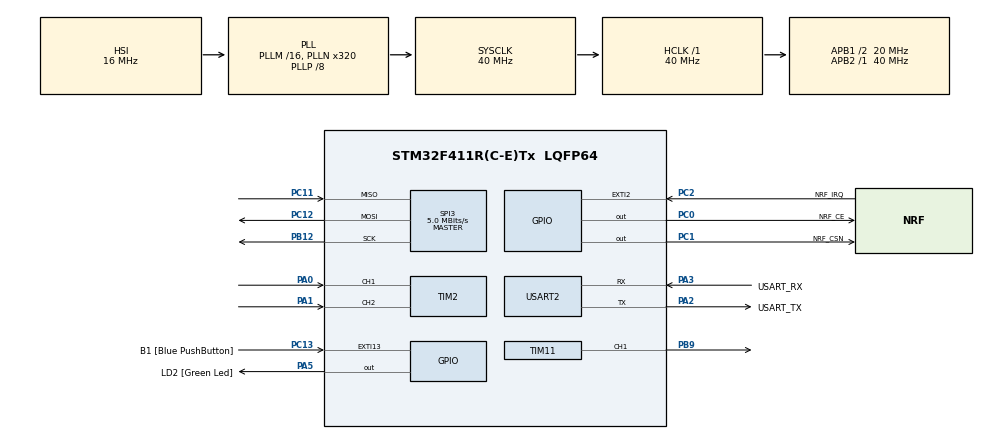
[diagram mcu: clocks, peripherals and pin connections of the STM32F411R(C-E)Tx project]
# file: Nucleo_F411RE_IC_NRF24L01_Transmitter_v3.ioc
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Mcu.Family=STM32F4
Mcu.Name=STM32F411R(C-E)Tx
Mcu.Package=LQFP64
NVIC.EXTI2_IRQn=true\:0\:0\:false\:false\:true\:true\:true
NVIC.PriorityGroup=NVIC_PRIORITYGROUP_0
NVIC.TIM2_IRQn=true\:0\:0\:false\:false\:true\:true\:true
PA0-WKUP.Signal=S_TIM2_CH1_ETR
PA1.Signal=S_TIM2_CH2
PA13.GPIO_Label=TMS
PA13.Mode=Serial_Wire
PA13.Signal=SYS_JTMS-SWDIO
PA14.GPIO_Label=TCK
PA14.Mode=Serial_Wire
PA14.Signal=SYS_JTCK-SWCLK
PA2.GPIO_Label=USART_TX
PA2.Mode=Asynchronous
PA2.Signal=USART2_TX
PA3.GPIO_Label=USART_RX
PA3.Mode=Asynchronous
PA3.Signal=USART2_RX
PA5.GPIO_Label=LD2 [Green Led]
PA5.Signal=GPIO_Output
PB12.Mode=Full_Duplex_Master
PB12.Signal=SPI3_SCK
PB3.GPIO_Label=SWO
PB3.Signal=SYS_JTDO-SWO
PB9.Signal=S_TIM11_CH1
PC0.GPIO_Label=NRF_CE
PC0.Signal=GPIO_Output
PC1.GPIO_Label=NRF_CSN
PC1.Signal=GPIO_Output
PC11.Mode=Full_Duplex_Master
PC11.Signal=SPI3_MISO
PC12.Mode=Full_Duplex_Master
PC12.Signal=SPI3_MOSI
PC13-ANTI_TAMP.GPIO_Label=B1 [Blue PushButton]
PC13-ANTI_TAMP.GPIO_ModeDefaultEXTI=GPIO_MODE_IT_FALLING
PC13-ANTI_TAMP.Signal=GPXTI13
PC14-OSC32_IN.Mode=LSE-External-Oscillator
PC14-OSC32_IN.Signal=RCC_OSC32_IN
PC15-OSC32_OUT.Mode=LSE-External-Oscillator
PC15-OSC32_OUT.Signal=RCC_OSC32_OUT
PC2.GPIO_Label=NRF_IRQ
PC2.Signal=GPXTI2
PH0\ -\ OSC_IN.Mode=HSE-External-Clock-Source
PH0\ -\ OSC_IN.Signal=RCC_OSC_IN
PH1\ -\ OSC_OUT.Mode=HSE-External-Clock-Source
PH1\ -\ OSC_OUT.Signal=RCC_OSC_OUT
ProjectManager.HeapSize=0x200
ProjectManager.StackSize=0x400
ProjectManager.TargetToolchain=STM32CubeIDE
RCC.48MHZClocksFreq_Value=80000000
RCC.AHBFreq_Value=40000000
RCC.APB1CLKDivider=RCC_HCLK_DIV2
RCC.APB1Freq_Value=20000000
RCC.APB1TimFreq_Value=40000000
RCC.APB2Freq_Value=40000000
RCC.APB2TimFreq_Value=40000000
RCC.CortexFreq_Value=40000000
RCC.FLatency-AdvancedSettings=FLASH_LATENCY_1
RCC.HCLKFreq_Value=40000000
RCC.HSE_VALUE=8000000
RCC.HSI_VALUE=16000000
RCC.PLLN=320
RCC.PLLP=RCC_PLLP_DIV8
RCC.SYSCLKFreq_VALUE=40000000
RCC.SYSCLKSource=RCC_SYSCLKSOURCE_PLLCLK
RCC.VCOOutputFreq_Value=320000000
SH.S_TIM11_CH1.0=TIM11_CH1,PWM Generation1 CH1
SH.S_TIM2_CH1_ETR.0=TIM2_CH1,Input_Capture1_from_TI1
SH.S_TIM2_CH2.0=TIM2_CH2,Input_Capture2_from_TI2
SPI3.BaudRatePrescaler=SPI_BAUDRATEPRESCALER_4
SPI3.CalculateBaudRate=5.0 MBits/s
SPI3.Direction=SPI_DIRECTION_2LINES
SPI3.Mode=SPI_MODE_MASTER
SPI3.VirtualType=VM_MASTER
TIM11.Channel=TIM_CHANNEL_1
TIM11.Period=83
TIM11.Prescaler=99
TIM11.Pulse=41
TIM2.Channel-Input_Capture1_from_TI1=TIM_CHANNEL_1
TIM2.Channel-Input_Capture2_from_TI2=TIM_CHANNEL_2
USART2.VirtualMode=VM_ASYNC
VP_TIM11_VS_ClockSourceINT.Mode=Enable_Timer
VP_TIM2_VS_ClockSourceINT.Mode=Internal
board=NUCLEO-F411RE

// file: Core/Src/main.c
/* USER CODE BEGIN Header */
/**
  ******************************************************************************
  * @file           : main.c
  * @brief          : Main program body
  ******************************************************************************
  * @attention
  *
  * <h2><center>&copy; Copyright (c) 2020 STMicroelectronics.
  * All rights reserved.</center></h2>
  *
  * This software component is licensed by ST under BSD 3-Clause license,
  * the "License"; You may not use this file except in compliance with the
  * License. You may obtain a copy of the License at:
  *                        opensource.org/licenses/BSD-3-Clause
  *
  ******************************************************************************
  */
/* USER CODE END Header */
#include "main.h"

/* USER CODE BEGIN Includes */
#include <stdio.h>
#include <math.h>
#include <string.h> /* strlen */
#include <inttypes.h>

/* USER CODE END Includes */

SPI_HandleTypeDef hspi3;

TIM_HandleTypeDef htim2;
TIM_HandleTypeDef htim11;

UART_HandleTypeDef huart2;

/* USER CODE BEGIN PV */
uint32_t CH1_captures[2];
volatile uint8_t  CH1_captureDone = 0;
volatile uint16_t uh_CH1_CaptureIndex = 0;
volatile uint32_t CH1_diffCapture = 0;

uint32_t CH2_captures[2];
volatile uint8_t  CH2_captureDone = 0;
volatile uint16_t uh_CH2_CaptureIndex = 0;
volatile uint32_t CH2_diffCapture = 0;

/* USER CODE END PV */

void SystemClock_Config(void);
static void MX_GPIO_Init(void);
static void MX_SPI3_Init(void);
static void MX_USART2_UART_Init(void);
static void MX_TIM2_Init(void);
static void MX_TIM11_Init(void);
/* USER CODE BEGIN PFP */

void runRadio(void);

/* USER CODE END PFP */

/* USER CODE BEGIN 0 */
// WARNING UART2 is connected to st-link
// Properties -> Settings -> MCU_Settings -> select use float with printf
/*
 * USART2, BaudRate = 115200, WordLength = UART_WORDLENGTH_8B, StopBits = UART_STOPBITS_1;
 * */
int _write(int file, char *ptr, int len)
{
	HAL_UART_Transmit(&huart2,(uint8_t *)ptr, len, 10);
	return len;
}
/* USER CODE END 0 */

int main(void)
{

  /* MCU Configuration--------------------------------------------------------*/

  /* Reset of all peripherals, Initializes the Flash interface and the Systick. */
  HAL_Init();

  /* Configure the system clock */
  SystemClock_Config();

  /* Initialize all configured peripherals */
  MX_GPIO_Init();
  MX_SPI3_Init();
  MX_USART2_UART_Init();
  MX_TIM2_Init();
  MX_TIM11_Init();
  /* USER CODE BEGIN 2 */

	printf("start\n");
	// Start the Input Capture in interrupt mode
	if (HAL_OK != HAL_TIM_IC_Start_IT(&htim2, TIM_CHANNEL_1) )
		Error_Handler();

	if (HAL_OK != HAL_TIM_IC_Start_IT(&htim2, TIM_CHANNEL_2) )
		Error_Handler();

	// Start PWM
	if ( HAL_OK != HAL_TIM_PWM_Start (&htim11, TIM_CHANNEL_1) )
		Error_Handler();

  //runRadio();

  /* USER CODE END 2 */

  /* Infinite loop */
  while (1)
  {

    /* USER CODE BEGIN 3 */
		float freq_in=CH2_getFrequency();
		printf("freq %f Hz\n", freq_in);
  }
  /* USER CODE END 3 */
}

void SystemClock_Config(void)
{
  RCC_OscInitTypeDef RCC_OscInitStruct = {0};
  RCC_ClkInitTypeDef RCC_ClkInitStruct = {0};

  /** Configure the main internal regulator output voltage
  */
  __HAL_RCC_PWR_CLK_ENABLE();
  __HAL_PWR_VOLTAGESCALING_CONFIG(PWR_REGULATOR_VOLTAGE_SCALE1);
  /** Initializes the RCC Oscillators according to the specified parameters
  * in the RCC_OscInitTypeDef structure.
  */
  RCC_OscInitStruct.OscillatorType = RCC_OSCILLATORTYPE_HSI;
  RCC_OscInitStruct.HSIState = RCC_HSI_ON;
  RCC_OscInitStruct.HSICalibrationValue = RCC_HSICALIBRATION_DEFAULT;
  RCC_OscInitStruct.PLL.PLLState = RCC_PLL_ON;
  RCC_OscInitStruct.PLL.PLLSource = RCC_PLLSOURCE_HSI;
  RCC_OscInitStruct.PLL.PLLM = 16;
  RCC_OscInitStruct.PLL.PLLN = 320;
  RCC_OscInitStruct.PLL.PLLP = RCC_PLLP_DIV8;
  RCC_OscInitStruct.PLL.PLLQ = 4;
  if (HAL_RCC_OscConfig(&RCC_OscInitStruct) != HAL_OK)
  {
    Error_Handler();
  }
  /** Initializes the CPU, AHB and APB buses clocks
  */
  RCC_ClkInitStruct.ClockType = RCC_CLOCKTYPE_HCLK|RCC_CLOCKTYPE_SYSCLK
                              |RCC_CLOCKTYPE_PCLK1|RCC_CLOCKTYPE_PCLK2;
  RCC_ClkInitStruct.SYSCLKSource = RCC_SYSCLKSOURCE_PLLCLK;
  RCC_ClkInitStruct.AHBCLKDivider = RCC_SYSCLK_DIV1;
  RCC_ClkInitStruct.APB1CLKDivider = RCC_HCLK_DIV2;
  RCC_ClkInitStruct.APB2CLKDivider = RCC_HCLK_DIV1;

  if (HAL_RCC_ClockConfig(&RCC_ClkInitStruct, FLASH_LATENCY_1) != HAL_OK)
  {
    Error_Handler();
  }
}

static void MX_SPI3_Init(void)
{

  /* SPI3 parameter configuration*/
  hspi3.Instance = SPI3;
  hspi3.Init.Mode = SPI_MODE_MASTER;
  hspi3.Init.Direction = SPI_DIRECTION_2LINES;
  hspi3.Init.DataSize = SPI_DATASIZE_8BIT;
  hspi3.Init.CLKPolarity = SPI_POLARITY_LOW;
  hspi3.Init.CLKPhase = SPI_PHASE_1EDGE;
  hspi3.Init.NSS = SPI_NSS_SOFT;
  hspi3.Init.BaudRatePrescaler = SPI_BAUDRATEPRESCALER_4;
  hspi3.Init.FirstBit = SPI_FIRSTBIT_MSB;
  hspi3.Init.TIMode = SPI_TIMODE_DISABLE;
  hspi3.Init.CRCCalculation = SPI_CRCCALCULATION_DISABLE;
  hspi3.Init.CRCPolynomial = 10;
  if (HAL_SPI_Init(&hspi3) != HAL_OK)
  {
    Error_Handler();
  }

}

static void MX_TIM2_Init(void)
{

  TIM_ClockConfigTypeDef sClockSourceConfig = {0};
  TIM_MasterConfigTypeDef sMasterConfig = {0};
  TIM_IC_InitTypeDef sConfigIC = {0};

  htim2.Instance = TIM2;
  htim2.Init.Prescaler = 0;
  htim2.Init.CounterMode = TIM_COUNTERMODE_UP;
  htim2.Init.Period = 4294967295;
  htim2.Init.ClockDivision = TIM_CLOCKDIVISION_DIV1;
  htim2.Init.AutoReloadPreload = TIM_AUTORELOAD_PRELOAD_DISABLE;
  if (HAL_TIM_Base_Init(&htim2) != HAL_OK)
  {
    Error_Handler();
  }
  sClockSourceConfig.ClockSource = TIM_CLOCKSOURCE_INTERNAL;
  if (HAL_TIM_ConfigClockSource(&htim2, &sClockSourceConfig) != HAL_OK)
  {
    Error_Handler();
  }
  if (HAL_TIM_IC_Init(&htim2) != HAL_OK)
  {
    Error_Handler();
  }
  sMasterConfig.MasterOutputTrigger = TIM_TRGO_RESET;
  sMasterConfig.MasterSlaveMode = TIM_MASTERSLAVEMODE_DISABLE;
  if (HAL_TIMEx_MasterConfigSynchronization(&htim2, &sMasterConfig) != HAL_OK)
  {
    Error_Handler();
  }
  sConfigIC.ICPolarity = TIM_INPUTCHANNELPOLARITY_RISING;
  sConfigIC.ICSelection = TIM_ICSELECTION_DIRECTTI;
  sConfigIC.ICPrescaler = TIM_ICPSC_DIV1;
  sConfigIC.ICFilter = 0;
  if (HAL_TIM_IC_ConfigChannel(&htim2, &sConfigIC, TIM_CHANNEL_1) != HAL_OK)
  {
    Error_Handler();
  }
  if (HAL_TIM_IC_ConfigChannel(&htim2, &sConfigIC, TIM_CHANNEL_2) != HAL_OK)
  {
    Error_Handler();
  }

}

static void MX_TIM11_Init(void)
{

  TIM_OC_InitTypeDef sConfigOC = {0};

  htim11.Instance = TIM11;
  htim11.Init.Prescaler = 99;
  htim11.Init.CounterMode = TIM_COUNTERMODE_UP;
  htim11.Init.Period = 83;
  htim11.Init.ClockDivision = TIM_CLOCKDIVISION_DIV1;
  htim11.Init.AutoReloadPreload = TIM_AUTORELOAD_PRELOAD_DISABLE;
  if (HAL_TIM_Base_Init(&htim11) != HAL_OK)
  {
    Error_Handler();
  }
  if (HAL_TIM_PWM_Init(&htim11) != HAL_OK)
  {
    Error_Handler();
  }
  sConfigOC.OCMode = TIM_OCMODE_PWM1;
  sConfigOC.Pulse = 41;
  sConfigOC.OCPolarity = TIM_OCPOLARITY_HIGH;
  sConfigOC.OCFastMode = TIM_OCFAST_DISABLE;
  if (HAL_TIM_PWM_ConfigChannel(&htim11, &sConfigOC, TIM_CHANNEL_1) != HAL_OK)
  {
    Error_Handler();
  }
  HAL_TIM_MspPostInit(&htim11);

}

static void MX_USART2_UART_Init(void)
{

  huart2.Instance = USART2;
  huart2.Init.BaudRate = 115200;
  huart2.Init.WordLength = UART_WORDLENGTH_8B;
  huart2.Init.StopBits = UART_STOPBITS_1;
  huart2.Init.Parity = UART_PARITY_NONE;
  huart2.Init.Mode = UART_MODE_TX_RX;
  huart2.Init.HwFlowCtl = UART_HWCONTROL_NONE;
  huart2.Init.OverSampling = UART_OVERSAMPLING_16;
  if (HAL_UART_Init(&huart2) != HAL_OK)
  {
    Error_Handler();
  }

}

static void MX_GPIO_Init(void)
{
  GPIO_InitTypeDef GPIO_InitStruct = {0};

  /* GPIO Ports Clock Enable */
  __HAL_RCC_GPIOC_CLK_ENABLE();
  __HAL_RCC_GPIOH_CLK_ENABLE();
  __HAL_RCC_GPIOA_CLK_ENABLE();
  __HAL_RCC_GPIOB_CLK_ENABLE();

  /*Configure GPIO pin Output Level */
  HAL_GPIO_WritePin(GPIOC, NRF_CE_Pin|NRF_CSN_Pin, GPIO_PIN_RESET);

  /*Configure GPIO pin Output Level */
  HAL_GPIO_WritePin(LD2_GPIO_Port, LD2_Pin, GPIO_PIN_RESET);

  /*Configure GPIO pin : B1_Pin */
  GPIO_InitStruct.Pin = B1_Pin;
  GPIO_InitStruct.Mode = GPIO_MODE_IT_FALLING;
  GPIO_InitStruct.Pull = GPIO_NOPULL;
  HAL_GPIO_Init(B1_GPIO_Port, &GPIO_InitStruct);

  /*Configure GPIO pins : NRF_CE_Pin NRF_CSN_Pin */
  GPIO_InitStruct.Pin = NRF_CE_Pin|NRF_CSN_Pin;
  GPIO_InitStruct.Mode = GPIO_MODE_OUTPUT_PP;
  GPIO_InitStruct.Pull = GPIO_NOPULL;
  GPIO_InitStruct.Speed = GPIO_SPEED_FREQ_LOW;
  HAL_GPIO_Init(GPIOC, &GPIO_InitStruct);

  /*Configure GPIO pin : NRF_IRQ_Pin */
  GPIO_InitStruct.Pin = NRF_IRQ_Pin;
  GPIO_InitStruct.Mode = GPIO_MODE_IT_RISING;
  GPIO_InitStruct.Pull = GPIO_NOPULL;
  HAL_GPIO_Init(NRF_IRQ_GPIO_Port, &GPIO_InitStruct);

  /*Configure GPIO pin : LD2_Pin */
  GPIO_InitStruct.Pin = LD2_Pin;
  GPIO_InitStruct.Mode = GPIO_MODE_OUTPUT_PP;
  GPIO_InitStruct.Pull = GPIO_NOPULL;
  GPIO_InitStruct.Speed = GPIO_SPEED_FREQ_LOW;
  HAL_GPIO_Init(LD2_GPIO_Port, &GPIO_InitStruct);

  /* EXTI interrupt init*/
  HAL_NVIC_SetPriority(EXTI2_IRQn, 0, 0);
  HAL_NVIC_EnableIRQ(EXTI2_IRQn);

}

/* USER CODE BEGIN 4 */

void HAL_TIM_IC_CaptureCallback(TIM_HandleTypeDef *htim)
{
	if (htim->Channel == HAL_TIM_ACTIVE_CHANNEL_1){
		if(uh_CH1_CaptureIndex == 0){
			/* Get the 1st Input Capture value */
			CH1_captures[0] = HAL_TIM_ReadCapturedValue(htim, TIM_CHANNEL_1);
			uh_CH1_CaptureIndex = 1;
		}
		else if(uh_CH1_CaptureIndex == 1){
			/* Get the 2nd Input Capture value */
			CH1_captures[1] = HAL_TIM_ReadCapturedValue(htim, TIM_CHANNEL_1);

			/* Capture computation */
			if (CH1_captures[1] >= CH1_captures[0])
				CH1_diffCapture = CH1_captures[1] - CH1_captures[0];
			else
				CH1_diffCapture = ((htim->Instance->ARR - CH1_captures[0]) + CH1_captures[1]) + 1;

			uh_CH1_CaptureIndex = 0;
			CH1_captureDone=1;
		}
	}

	if (htim->Channel == HAL_TIM_ACTIVE_CHANNEL_2){
		if(uh_CH2_CaptureIndex == 0){
			/* Get the 1st Input Capture value */
			CH2_captures[0] = HAL_TIM_ReadCapturedValue(htim, TIM_CHANNEL_2);
			uh_CH2_CaptureIndex = 1;
		}
		else if(uh_CH2_CaptureIndex == 1){
			/* Get the 2nd Input Capture value */
			CH2_captures[1] = HAL_TIM_ReadCapturedValue(htim, TIM_CHANNEL_2);

			/* Capture computation */
			if (CH2_captures[1] >= CH2_captures[0])
				CH2_diffCapture = CH2_captures[1] - CH2_captures[0];
			else
				CH2_diffCapture = ((htim->Instance->ARR - CH2_captures[0]) + CH2_captures[1]) + 1;

			uh_CH2_CaptureIndex = 0;
			CH2_captureDone=1;
		}
	}
}

float CH1_getFrequency(){
	CH1_captureDone=0;

	while(!CH1_captureDone) {}
	/* Frequency computation: for this example TIMx (TIM2) is clocked by APB1Clk */
	float frequency = HAL_RCC_GetPCLK2Freq()/ (htim2.Instance->PSC + 1.0);
	frequency = frequency / (float) CH1_diffCapture;
	return frequency;
}

float CH2_getFrequency(){
	CH2_captureDone=0;

	while(!CH2_captureDone) {}
	/* Frequency computation: for this example TIMx (TIM2) is clocked by APB1Clk */
	float frequency = HAL_RCC_GetPCLK2Freq()/ (htim2.Instance->PSC + 1.0);
	frequency = frequency / (float) CH2_diffCapture;
	return frequency;
}

/* USER CODE END 4 */

void Error_Handler(void)
{
}
